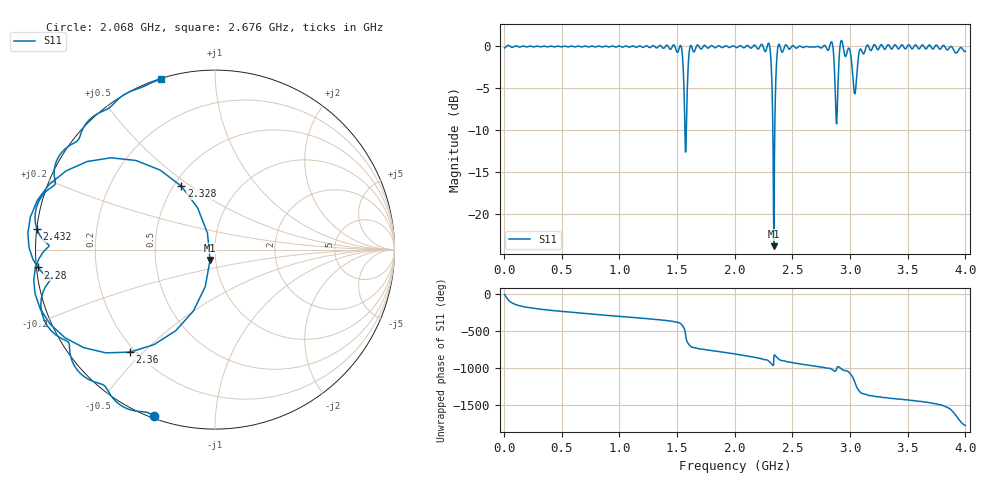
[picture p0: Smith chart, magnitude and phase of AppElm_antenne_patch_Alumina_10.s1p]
! TOUCHSTONE file generated by CST MICROWAVE STUDIO
! Date and time: Thu Jun  9 15:37:42 2022
! Project name: AppElm_antenne_patch_Alumina.cst
! Parameters = {L=30.5; W=41.8; e=0.035; h=1.6; lambda=0.190476; ls=90; w0=1.12; w1=0.373; ws=108; y0=14; y1=10}
! Header version: 2018
! Port assignment regex: !\s*Touchstone port\s*([0-9]+)\s*=\s*(CST MWS port|CST DS port)\s*([0-9]+|Zmin|Zmax)\s*\(\"(.*)\"\)(\s*mode\s*([0-9]+))?.*
! Touchstone port assignment:
! Touchstone port 1 = CST MWS port 1 ("")
# GHz S MA R 50
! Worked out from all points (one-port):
!   1000 points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, 4 MHz to 4 GHz, reference 50 ohm
!   lowest |S11| = -23.8 dB at 2.34 GHz (marker M1), VSWR 1.14, Z = 47 - j5.51 ohm
!   |S11| at or under -10 dB: 1.568 GHz to 1.58 GHz (11.94 MHz wide, 0.759 % of centre); 2.33 GHz to 2.347 GHz (16.9 MHz wide, 0.723 % of centre)
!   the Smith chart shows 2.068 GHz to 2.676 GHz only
!   S11 on the Smith chart (normalised r, x): 2.068 GHz: 0.01, -0.70; 2.28 GHz: 0.00, -0.05; 2.328 GHz: 0.55, +0.46; 2.36 GHz: 0.18, -0.46; 2.432 GHz: 0.00, +0.06; 2.676 GHz: 0.00, +0.73
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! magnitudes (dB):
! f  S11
! 4 MHz  -0.2
! 504 MHz  0.0
! 1.004 GHz  0.0
! 1.504 GHz  -0.7
! 1.536 GHz  0.0
! 1.572 GHz  -12.6
! 1.624 GHz  0.0
! 2.004 GHz  -0.1
! 2.068 GHz  -0.1
! 2.28 GHz  -0.1
! 2.308 GHz  -0.6
! 2.328 GHz  -8.0
! 2.34 GHz  -23.8
! 2.352 GHz  -6.0
! 2.36 GHz  -2.6
! 2.368 GHz  -0.8
! 2.38 GHz  0.2
! 2.432 GHz  0.0
! 2.504 GHz  0.1
! 2.676 GHz  0.0
! 2.836 GHz  0.5
! 2.88 GHz  -9.0
! 2.924 GHz  0.7
! 3.004 GHz  -0.8
! 3.04 GHz  -5.7
! 3.092 GHz  -0.3
! 3.504 GHz  0.2
! 4 GHz  -0.6
